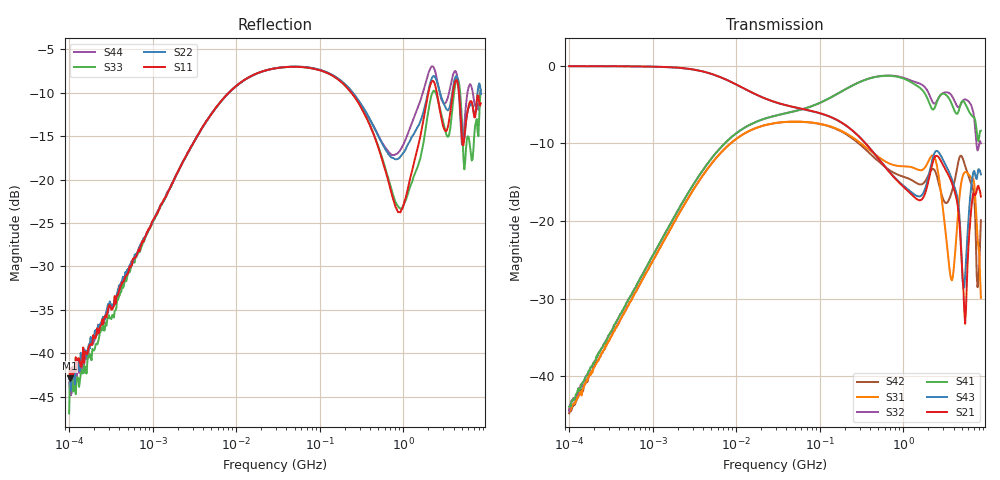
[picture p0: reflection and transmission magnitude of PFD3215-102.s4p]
# MHz S MA R 50
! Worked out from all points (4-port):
!   498 points, 100 kHz to 8.5 GHz, reference 50 ohm
!   strongest paths, dB at 100 kHz, 1.698 MHz, 29.49 MHz, 500.7 MHz, 8.5 GHz:
!     S21: -0.1, -0.2, -4.7, -11.9, -16.9
!     S43: -0.1, -0.2, -4.7, -11.9, -14.0
!     S41: -43.9, -20.1, -6.4, -1.4, -8.4
!     S32: -44.4, -20.0, -6.5, -1.4, -10.0
!     S31: -44.2, -20.7, -7.4, -11.7, -29.9
!     S42: -44.8, -20.7, -7.4, -12.3, -19.9
!   lowest |S11| = -42.9 dB at 102.3 kHz (marker M1), VSWR 1.01, Z = 50.5 + j0.536 ohm
!   |S11| at or under -10 dB: 238.4 MHz to 2.002 GHz (1.764 GHz wide, 157 % of centre); 2.526 GHz to 3.932 GHz (1.406 GHz wide, 43.5 % of centre); 4.647 GHz to end of sweep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
0.1  0.008246 56.2  0.9909 -0.3  0.006153 -94.4  0.006377 84.4
     0.9909 -0.3  0.007108 66.3  0.005997 90.4  0.00578 -94.8
     0.006153 -94.4  0.005997 90.4  0.00452 36.7  0.9909 -0.3
     0.006377 84.4  0.00578 -94.8  0.9909 -0.3  0.006804 66.3
0.1023101  0.007188 47.6  0.991 -0.4  0.005964 -91.7  0.006446 87.5
           0.991 -0.4  0.007397 71.6  0.006567 87.3  0.005963 -90.2
           0.005964 -91.7  0.006567 87.3  0.007313 49.9  0.99 -0.4
           0.006446 87.5  0.005963 -90.2  0.99 -0.4  0.006134 58.6
20.46327  0.4181 15.0  0.6256 -22.7  0.4087 -165.9  0.4495 24.2
          0.6256 -22.7  0.4178 15.9  0.4492 24.2  0.4083 -165.0
          0.4087 -165.9  0.4492 24.2  0.4181 15.2  0.6242 -22.8
          0.4495 24.2  0.4083 -165.0  0.6242 -22.8  0.4176 16.0
339.572  0.2401 -97.2  0.3239 -104.0  0.3045 65.9  0.8044 -32.0
         0.3239 -104.0  0.2541 -81.7  0.8051 -31.7  0.2951 79.3
         0.3045 65.9  0.8051 -31.7  0.2439 -97.0  0.3233 -104.6
         0.8044 -32.0  0.2951 79.3  0.3233 -104.6  0.2541 -80.9
1277.015  0.1125 -162.7  0.1468 62.9  0.2215 -126.5  0.7748 -175.3
          0.1468 62.9  0.1769 -165.9  0.7968 -173.5  0.1826 -105.4
          0.2215 -126.5  0.7968 -173.5  0.09654 -178.3  0.1518 58.6
          0.7748 -175.3  0.1826 -105.4  0.1518 58.6  0.2129 -160.8
2776.003  0.2424 -17.7  0.2474 91.2  0.1639 -64.8  0.6448 2.8
          0.2474 91.2  0.3118 -12.9  0.6429 -0.7  0.1588 -85.0
          0.1639 -64.8  0.6429 -0.7  0.2509 -30.6  0.267 88.2
          0.6448 2.8  0.1588 -85.0  0.267 88.2  0.3055 -13.5
8500  0.2744 -49.2  0.1433 25.7  0.03199 8.8  0.3806 -11.7
      0.1433 25.7  0.31 -62.0  0.3162 -34.1  0.1012 79.9
      0.03199 8.8  0.3162 -34.1  0.3266 -42.7  0.1993 10.7
      0.3806 -11.7  0.1012 79.9  0.1993 10.7  0.3285 -59.4
